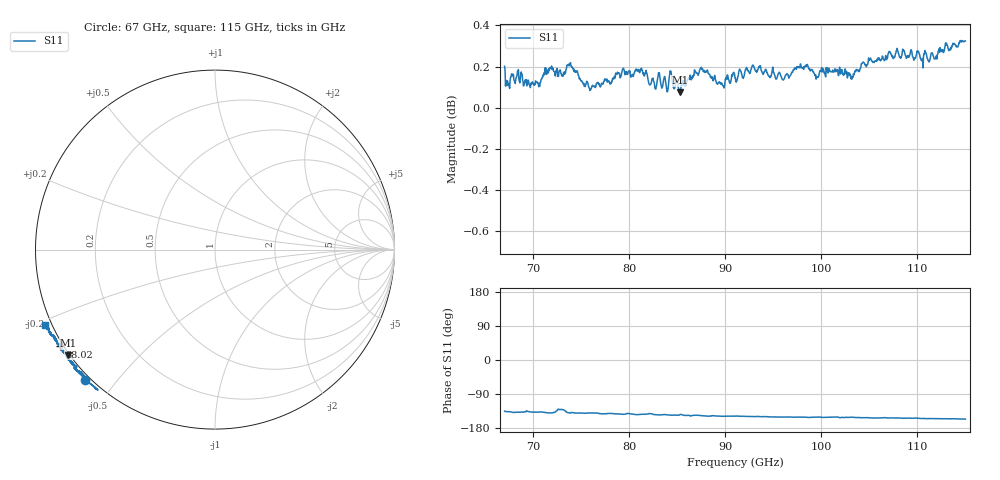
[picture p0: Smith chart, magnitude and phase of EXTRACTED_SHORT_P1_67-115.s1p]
! Generated by Phase I extraction
# Hz S RI R 50
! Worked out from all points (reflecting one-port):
!   1001 points, 67 GHz to 115 GHz, reference 50 ohm
!   lowest |S11| = 0.1 dB at 85.24 GHz (marker M1)
!   phase of S11 starts at -135 deg and turns -21 deg over the sweep
!   S11 on the Smith chart (normalised r, x): 67 GHz: -0.01, -0.42; 88.02 GHz: -0.01, -0.29; 115 GHz: -0.02, -0.21
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6.7e10  -0.722 -0.7254
6.796e10  -0.7585 -0.6757
6.9496e10  -0.7352 -0.7
7.1752e10  -0.7784 -0.663
7.2136e10  -0.7627 -0.6781
7.2712e10  -0.6673 -0.7727
7.3e10  -0.6654 -0.7703
7.372e10  -0.7753 -0.6686
7.636e10  -0.7751 -0.6504
7.708e10  -0.7985 -0.6241
7.7992e10  -0.7844 -0.6416
7.9e10  -0.8083 -0.6185
7.9912e10  -0.7964 -0.6381
8.0776e10  -0.8291 -0.597
8.212e10  -0.7915 -0.6319
8.2888e10  -0.8268 -0.5886
8.5e10  -0.8374 -0.5731
8.524e10  -0.8186 -0.5893
8.62e10  -0.8447 -0.566
8.7112e10  -0.8454 -0.5688
8.8024e10  -0.8661 -0.5397
9.1e10  -0.8632 -0.5373
9.7e10  -0.8919 -0.4949
1.03e11  -0.8933 -0.4879
1.05448e11  -0.9152 -0.4638
1.066e11  -0.9085 -0.4786
1.09e11  -0.9215 -0.4595
1.15e11  -0.9481 -0.4226
